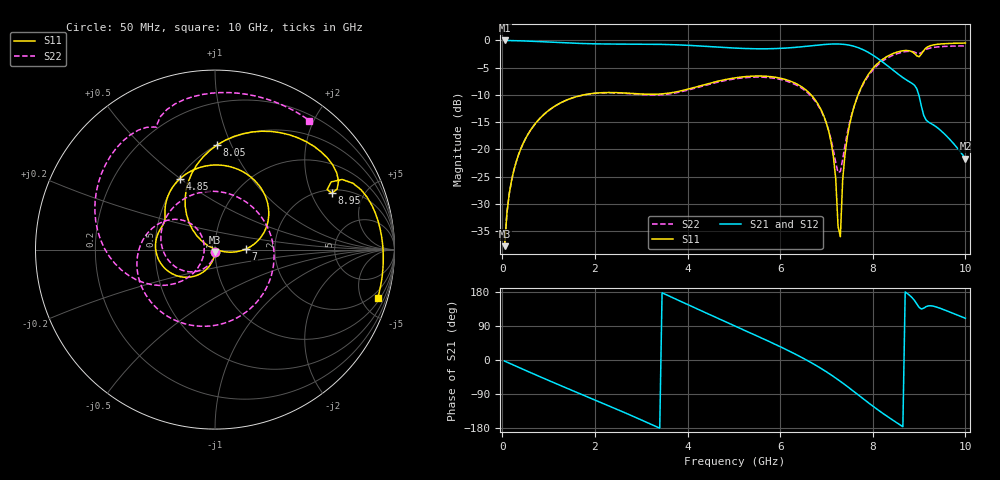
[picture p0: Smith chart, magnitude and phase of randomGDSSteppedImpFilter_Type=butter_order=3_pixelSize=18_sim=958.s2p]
! freq	dB(S11)	phase(S11)	dB(S12)	phase(S12)
!  dB(S21)	phase(S21)	dB(S22)	phase(S22)
!S-par simulation data
#  GHz  S  DB  R 50
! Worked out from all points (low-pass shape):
!   200 points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, 50 MHz to 10 GHz, reference 50 ohm
!   highest |S21| = 0.00 dB at 50 MHz (marker M1); lowest = -21.7 dB at 10 GHz (marker M2)
!   |S21| within 3 dB of the highest: start of sweep to 8.057 GHz
!   lowest |S11| = -37.7 dB at 50 MHz (marker M3), VSWR 1.03, Z = 49.9 - j1.29 ohm
!   |S11| at or under -10 dB: start of sweep to 1.752 GHz; 6.668 GHz to 7.683 GHz (1.014 GHz wide, 14.1 % of centre)
!   |S22| runs from -37.6 to -1.0 dB; largest |S21 - S12| = 0
!   S11 on the Smith chart (normalised r, x): 50 MHz: 1.00, -0.03; 4.85 GHz: 0.51, +0.50; 7 GHz: 1.42, +0.01; 8.05 GHz: 0.50, +0.88; 8.95 GHz: 2.17, +2.85; 10 GHz: 1.28, -6.63
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0.05  -37.74 -91.9  -0.00 -2.8  -0.00 -2.8  -37.56 -92.5
0.2  -25.69 -100.0  -0.03 -11.0  -0.03 -11.0  -25.70 -102.5
0.5  -18.05 -114.4  -0.11 -27.3  -0.11 -27.3  -18.06 -121.1
1.75  -10.00 -168.1  -0.57 -92.7  -0.57 -92.7  -10.02 161.5
2.65  -9.65 163.6  -0.67 -139.3  -0.67 -139.3  -9.72 96.9
3.4  -9.84 150.4  -0.72 -179.9  -0.72 -179.9  -9.98 28.9
4.05  -8.84 140.3  -0.91 143.7  -0.91 143.7  -9.02 -33.6
4.85  -7.12 116.2  -1.32 99.3  -1.32 99.3  -7.30 -98.0
5.05  -6.83 108.3  -1.41 88.3  -1.41 88.3  -7.02 -111.9
5.9  -6.76 68.9  -1.49 41.0  -1.49 41.0  -6.98 -165.6
6.7  -10.30 22.3  -0.96 -9.0  -0.96 -9.0  -10.54 145.7
7  -15.22 1.2  -0.72 -31.2  -0.72 -31.2  -15.23 131.4
7.15  -21.31 -10.0  -0.65 -43.4  -0.65 -43.4  -20.16 136.1
7.25  -34.07 -13.8  -0.65 -51.9  -0.65 -51.9  -24.25 166.7
7.3  -36.01 148.8  -0.67 -56.3  -0.67 -56.3  -24.04 -166.2
7.35  -25.60 150.1  -0.70 -60.8  -0.70 -60.8  -21.83 -146.3
7.5  -15.43 138.2  -0.88 -74.5  -0.88 -74.5  -15.04 -132.6
8.05  -4.70 88.9  -2.96 -126.1  -2.96 -126.1  -4.98 -172.1
8.35  -2.75 64.6  -4.86 -151.9  -4.86 -151.9  -3.06 162.3
8.95  -2.82 25.7  -8.85 148.2  -8.85 148.2  -2.34 116.6
9.45  -0.66 7.5  -16.39 136.7  -16.39 136.7  -1.16 88.0
10  -0.48 -16.6  -21.66 110.1  -21.66 110.1  -1.00 53.8
